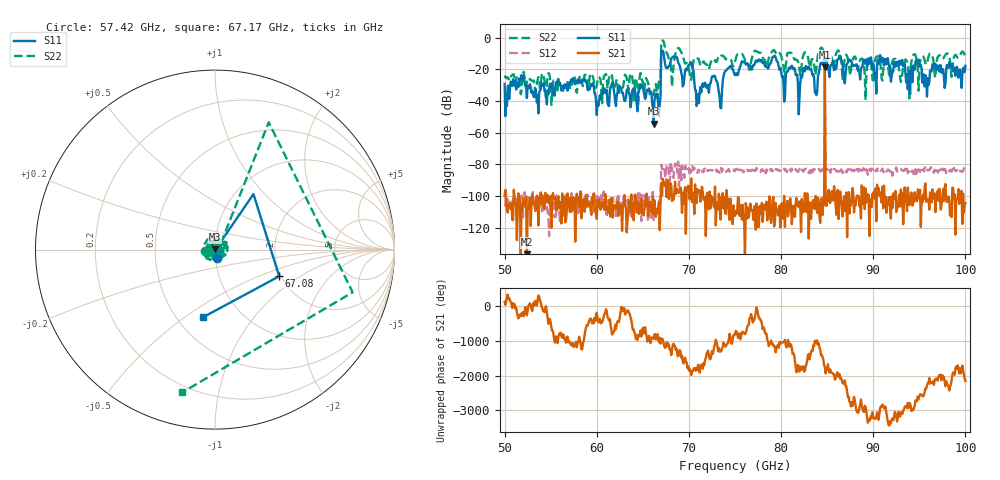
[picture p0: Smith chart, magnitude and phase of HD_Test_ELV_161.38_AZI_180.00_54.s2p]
! 11/25/2026 9:29:50 AM
! C:\ANRITSUVNA\TEMP\TEMP.S2P
! CHANNEL.1
! TR.MEASUREMENT
! RAW.DATA
# HZ S RI R 50.0
! FREQ.HZ  S11RE  S11IM  S21RE  S21IM  S12RE  S12IM  S22RE  S22IM
!; PortSelection: Port_12
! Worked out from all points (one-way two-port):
!   601 points, 50 GHz to 100 GHz, reference 50 ohm
!   highest |S21| = -18.63 dB at 84.75 GHz (marker M1); lowest = -140.0 dB at 52.42 GHz (marker M2)
!   lowest |S11| = -54.3 dB at 66.17 GHz (marker M3), VSWR 1.00, Z = 50.1 + j0.147 ohm
!   |S11| at or under -10 dB: start of sweep to 67 GHz; 67.24 GHz to end of sweep
!   |S22| runs from -42.6 to -1.8 dB; largest |S21 - S12| = 0.13
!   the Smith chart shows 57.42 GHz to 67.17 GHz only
!   S11 on the Smith chart (normalised r, x): 57.42 GHz: 1.02, -0.10; 67.08 GHz: 1.95, -0.68; 67.17 GHz: 0.67, -0.59
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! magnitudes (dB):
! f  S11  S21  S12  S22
! 50 GHz  -29.2  -99.9  -106.1  -25.4
! 52.42 GHz  -38.2  -140.0  -102.9  -28.0
! 57.42 GHz  -26.3  -102.2  -107.4  -25.2
! 58.42 GHz  -27.2  -108.4  -100.8  -29.0
! 60.17 GHz  -43.1  -106.8  -104.4  -24.9
! 61.67 GHz  -28.7  -109.7  -111.9  -24.5
! 66.17 GHz  -54.3  -111.9  -116.0  -35.4
! 66.67 GHz  -42.0  -110.7  -109.8  -32.2
! 67.08 GHz  -8.2  -99.8  -83.1  -1.9
! 67.17 GHz  -8.4  -89.2  -82.6  -1.8
! 70.17 GHz  -15.4  -98.0  -83.3  -25.7
! 70.92 GHz  -40.8  -95.8  -85.5  -13.3
! 75 GHz  -23.7  -112.6  -84.1  -15.0
! 79.25 GHz  -11.8  -119.3  -83.2  -7.9
! 80.25 GHz  -27.6  -114.6  -84.0  -17.6
! 83.42 GHz  -23.8  -103.5  -85.0  -13.6
! 84.75 GHz  -12.4  -18.6  -34.2  -11.5
! 91.67 GHz  -16.7  -100.9  -83.7  -20.4
! 93.75 GHz  -32.7  -94.7  -85.7  -17.2
! 94.83 GHz  -15.0  -95.9  -85.6  -20.3
! 95.83 GHz  -37.2  -102.2  -83.8  -15.9
! 100 GHz  -17.8  -104.6  -83.0  -12.1
